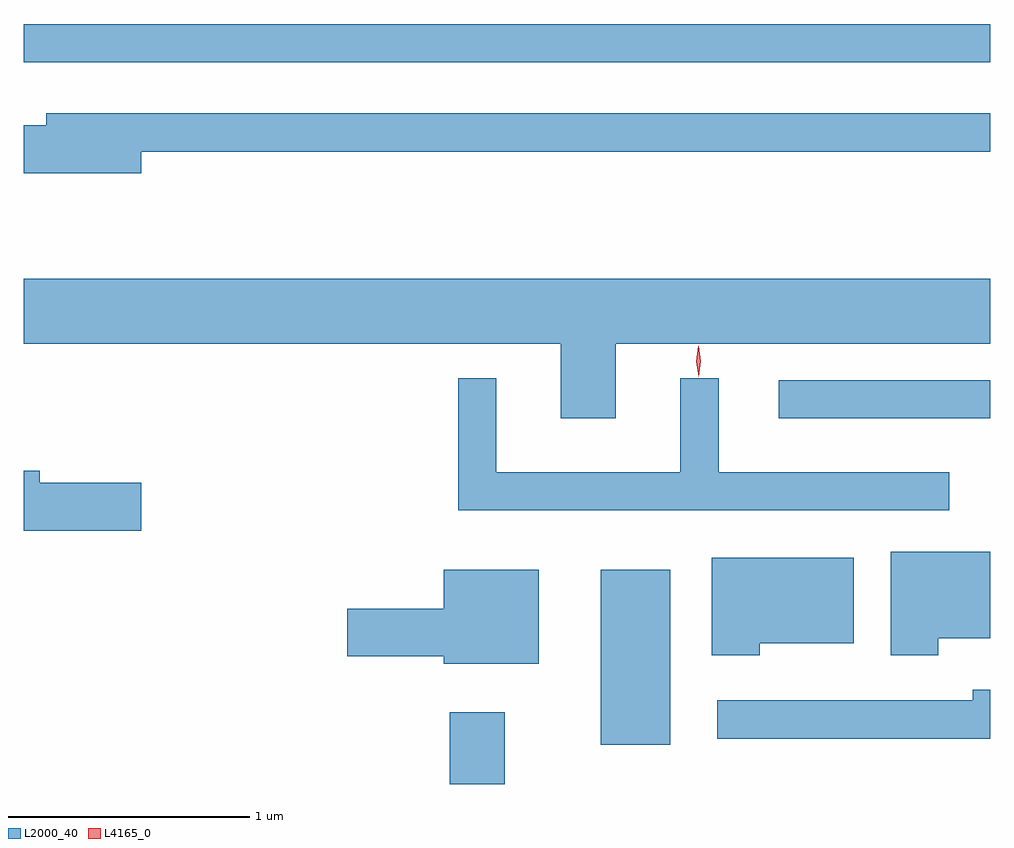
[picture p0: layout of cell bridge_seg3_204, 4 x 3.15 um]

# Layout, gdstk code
import gdstk
lib = gdstk.Library(unit=1e-6, precision=1e-09)
def R(c, l, rs):  # rectangles x0, y0, x1, y1
    for r in rs: c.add(gdstk.rectangle(r[:2], r[2:], *l))
def P(c, l, *ps):  # polygons
    for p in ps: c.add(gdstk.Polygon(p, *l))
L2000_40 = (2000, 40)
L4165_0 = (4165, 0)

bridge_seg3_204 = lib.new_cell('bridge_seg3_204')
R(bridge_seg3_204, L2000_40, [(1064.101,1161.933,1064.329,1162.229), (1064.726,1162.096,1065.014,1162.819), (1065.463,1163.446,1066.338,1163.604), (1062.338,1164.921,1066.338,1165.079)])
P(bridge_seg3_204, L2000_40, [(1062.824,1164.551),(1066.338,1164.551),(1066.338,1164.709),(1062.431,1164.709),(1062.431,1164.659),(1062.338,1164.659),(1062.338,1164.461),(1062.824,1164.461)],
  [(1064.789,1163.756),(1066.338,1163.756),(1066.338,1164.024),(1062.338,1164.024),(1062.338,1163.756),(1064.561,1163.756),(1064.561,1163.446),(1064.789,1163.446)],
  [(1066.168,1163.224),(1065.214,1163.224),(1065.214,1163.613),(1065.056,1163.613),(1065.056,1163.224),(1064.294,1163.224),(1064.294,1163.613),(1064.136,1163.613),(1064.136,1163.066),(1066.168,1163.066)],
  [(1062.824,1163.179),(1062.404,1163.179),(1062.404,1163.229),(1062.338,1163.229),(1062.338,1162.981),(1062.824,1162.981)],
  [(1066.124,1162.536),(1066.338,1162.536),(1066.338,1162.894),(1065.926,1162.894),(1065.926,1162.466),(1066.124,1162.466)],
  [(1065.384,1162.516),(1065.774,1162.516),(1065.774,1162.869),(1065.186,1162.869),(1065.186,1162.466),(1065.384,1162.466)],
  [(1064.469,1162.819),(1064.076,1162.819),(1064.076,1162.659),(1063.676,1162.659),(1063.676,1162.461),(1064.076,1162.461),(1064.076,1162.431),(1064.469,1162.431)],
  [(1066.338,1162.324),(1066.266,1162.324),(1066.266,1162.279),(1065.208,1162.279),(1065.208,1162.121),(1066.338,1162.121)])
P(bridge_seg3_204, L4165_0, [(1065.131,1163.618),(1065.121,1163.682),(1065.13,1163.746),(1065.131,1163.747),(1065.131,1163.746),(1065.141,1163.682),(1065.132,1163.618),(1065.132,1163.618)])

lib.write_gds('bridge_seg3_204.gds')
